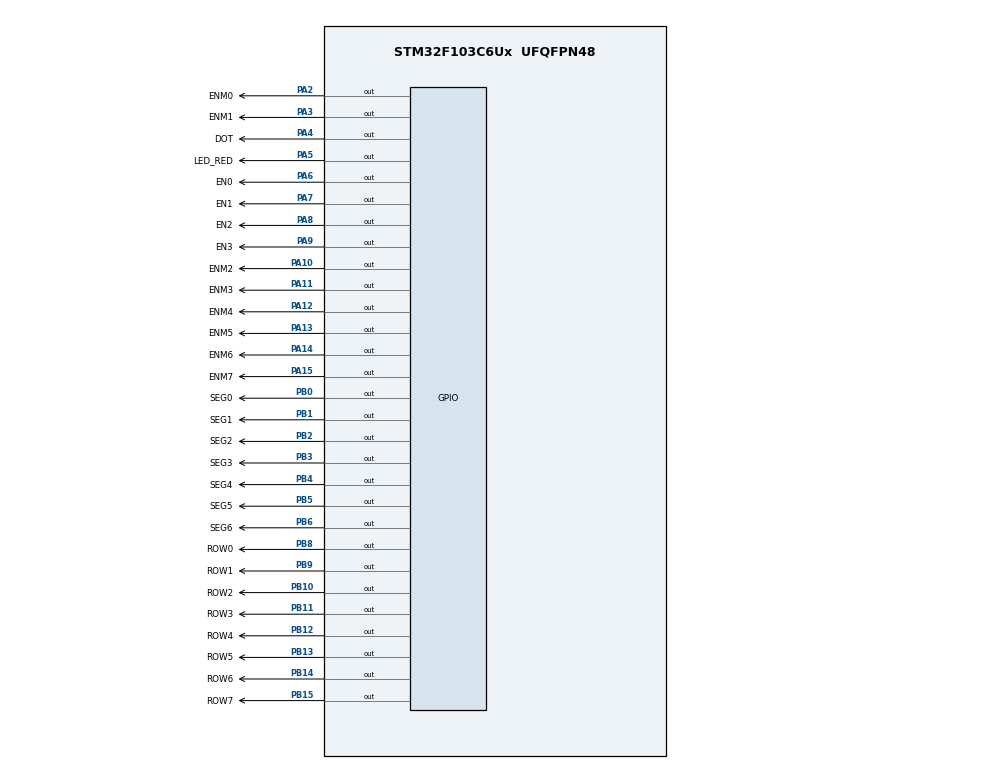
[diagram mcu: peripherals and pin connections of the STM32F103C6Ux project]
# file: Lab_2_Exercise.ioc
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Mcu.Family=STM32F1
Mcu.Name=STM32F103C6Ux
Mcu.Package=UFQFPN48
NVIC.PriorityGroup=NVIC_PRIORITYGROUP_4
NVIC.TIM2_IRQn=true\:0\:0\:false\:false\:true\:true\:true\:true
PA10.GPIO_Label=ENM2
PA10.Signal=GPIO_Output
PA11.GPIO_Label=ENM3
PA11.Signal=GPIO_Output
PA12.GPIO_Label=ENM4
PA12.Signal=GPIO_Output
PA13.GPIO_Label=ENM5
PA13.Signal=GPIO_Output
PA14.GPIO_Label=ENM6
PA14.Signal=GPIO_Output
PA15.GPIO_Label=ENM7
PA15.Signal=GPIO_Output
PA2.GPIO_Label=ENM0
PA2.Signal=GPIO_Output
PA3.GPIO_Label=ENM1
PA3.Signal=GPIO_Output
PA4.GPIO_Label=DOT
PA4.PinState=GPIO_PIN_SET
PA4.Signal=GPIO_Output
PA5.GPIO_Label=LED_RED
PA5.PinState=GPIO_PIN_RESET
PA5.Signal=GPIO_Output
PA6.GPIO_Label=EN0
PA6.PinState=GPIO_PIN_SET
PA6.Signal=GPIO_Output
PA7.GPIO_Label=EN1
PA7.PinState=GPIO_PIN_SET
PA7.Signal=GPIO_Output
PA8.GPIO_Label=EN2
PA8.PinState=GPIO_PIN_SET
PA8.Signal=GPIO_Output
PA9.GPIO_Label=EN3
PA9.PinState=GPIO_PIN_SET
PA9.Signal=GPIO_Output
PB0.GPIO_Label=SEG0
PB0.Signal=GPIO_Output
PB1.GPIO_Label=SEG1
PB1.Signal=GPIO_Output
PB10.GPIO_Label=ROW2
PB10.Signal=GPIO_Output
PB11.GPIO_Label=ROW3
PB11.Signal=GPIO_Output
PB12.GPIO_Label=ROW4
PB12.Signal=GPIO_Output
PB13.GPIO_Label=ROW5
PB13.Signal=GPIO_Output
PB14.GPIO_Label=ROW6
PB14.Signal=GPIO_Output
PB15.GPIO_Label=ROW7
PB15.Signal=GPIO_Output
PB2.GPIO_Label=SEG2
PB2.Signal=GPIO_Output
PB3.GPIO_Label=SEG3
PB3.Signal=GPIO_Output
PB4.GPIO_Label=SEG4
PB4.Signal=GPIO_Output
PB5.GPIO_Label=SEG5
PB5.Signal=GPIO_Output
PB6.GPIO_Label=SEG6
PB6.Signal=GPIO_Output
PB8.GPIO_Label=ROW0
PB8.Signal=GPIO_Output
PB9.GPIO_Label=ROW1
PB9.Signal=GPIO_Output
ProjectManager.HeapSize=0x200
ProjectManager.StackSize=0x400
ProjectManager.TargetToolchain=STM32CubeIDE
RCC.APB1Freq_Value=8000000
RCC.APB2Freq_Value=8000000
TIM2.Period=9
TIM2.Prescaler=7999
VP_SYS_VS_ND.Mode=No_Debug
VP_TIM2_VS_ClockSourceINT.Mode=Internal
board=custom

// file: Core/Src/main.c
/* USER CODE BEGIN Header */
/**
  ******************************************************************************
  * @file           : main.c
  * @brief          : Main program body
  ******************************************************************************
  * @attention
  *
  * Copyright (c) 2025 STMicroelectronics.
  * All rights reserved.
  *
  * This software is licensed under terms that can be found in the LICENSE file
  * in the root directory of this software component.
  * If no LICENSE file comes with this software, it is provided AS-IS.
  *
  ******************************************************************************
  */
/* USER CODE END Header */
#include "main.h"

TIM_HandleTypeDef htim2;

void SystemClock_Config(void);
static void MX_GPIO_Init(void);
static void MX_TIM2_Init(void);

/* USER CODE BEGIN 0 */
const uint8_t digit_patterns[10] = {
    0x3F, // 0: a,b,c,d,e,f
    0x06, // 1: b,c
    0x5B, // 2: a,b,g,e,d
    0x4F, // 3: a,b,g,c,d
    0x66, // 4: f,g,b,c
    0x6D, // 5: a,f,g,c,d
    0x7D, // 6: a,f,g,e,d,c
    0x07, // 7: a,b,c
    0x7F, // 8: all segments
    0x6F  // 9: a,b,c,d,f,g
};

void display7SEG(int num) {
    if (num < 0 || num > 9) return;

    uint8_t pattern = digit_patterns[num];
    HAL_GPIO_WritePin(SEG0_GPIO_Port, SEG0_Pin, (pattern & 0x01) ? GPIO_PIN_RESET : GPIO_PIN_SET);
    HAL_GPIO_WritePin(SEG1_GPIO_Port, SEG1_Pin, (pattern & 0x02) ? GPIO_PIN_RESET : GPIO_PIN_SET);
    HAL_GPIO_WritePin(SEG2_GPIO_Port, SEG2_Pin, (pattern & 0x04) ? GPIO_PIN_RESET : GPIO_PIN_SET);
    HAL_GPIO_WritePin(SEG3_GPIO_Port, SEG3_Pin, (pattern & 0x08) ? GPIO_PIN_RESET : GPIO_PIN_SET);
    HAL_GPIO_WritePin(SEG4_GPIO_Port, SEG4_Pin, (pattern & 0x10) ? GPIO_PIN_RESET : GPIO_PIN_SET);
    HAL_GPIO_WritePin(SEG5_GPIO_Port, SEG5_Pin, (pattern & 0x20) ? GPIO_PIN_RESET : GPIO_PIN_SET);
    HAL_GPIO_WritePin(SEG6_GPIO_Port, SEG6_Pin, (pattern & 0x40) ? GPIO_PIN_RESET : GPIO_PIN_SET);
}
/* USER CODE END 0 */

int main(void)
{

  /* MCU Configuration--------------------------------------------------------*/

  /* Reset of all peripherals, Initializes the Flash interface and the Systick. */
  HAL_Init();

  /* Configure the system clock */
  SystemClock_Config();

  /* Initialize all configured peripherals */
  MX_GPIO_Init();
  MX_TIM2_Init();
  /* USER CODE BEGIN 2 */
  HAL_TIM_Base_Start_IT(&htim2);
  /* USER CODE END 2 */

  /* Infinite loop */
  while (1)
  {

  }
}

void SystemClock_Config(void)
{
  RCC_OscInitTypeDef RCC_OscInitStruct = {0};
  RCC_ClkInitTypeDef RCC_ClkInitStruct = {0};

  /** Initializes the RCC Oscillators according to the specified parameters
  * in the RCC_OscInitTypeDef structure.
  */
  RCC_OscInitStruct.OscillatorType = RCC_OSCILLATORTYPE_HSI;
  RCC_OscInitStruct.HSIState = RCC_HSI_ON;
  RCC_OscInitStruct.HSICalibrationValue = RCC_HSICALIBRATION_DEFAULT;
  RCC_OscInitStruct.PLL.PLLState = RCC_PLL_NONE;
  if (HAL_RCC_OscConfig(&RCC_OscInitStruct) != HAL_OK)
  {
    Error_Handler();
  }

  /** Initializes the CPU, AHB and APB buses clocks
  */
  RCC_ClkInitStruct.ClockType = RCC_CLOCKTYPE_HCLK|RCC_CLOCKTYPE_SYSCLK
                              |RCC_CLOCKTYPE_PCLK1|RCC_CLOCKTYPE_PCLK2;
  RCC_ClkInitStruct.SYSCLKSource = RCC_SYSCLKSOURCE_HSI;
  RCC_ClkInitStruct.AHBCLKDivider = RCC_SYSCLK_DIV1;
  RCC_ClkInitStruct.APB1CLKDivider = RCC_HCLK_DIV1;
  RCC_ClkInitStruct.APB2CLKDivider = RCC_HCLK_DIV1;

  if (HAL_RCC_ClockConfig(&RCC_ClkInitStruct, FLASH_LATENCY_0) != HAL_OK)
  {
    Error_Handler();
  }
}

static void MX_TIM2_Init(void)
{

  TIM_ClockConfigTypeDef sClockSourceConfig = {0};
  TIM_MasterConfigTypeDef sMasterConfig = {0};

  htim2.Instance = TIM2;
  htim2.Init.Prescaler = 7999;
  htim2.Init.CounterMode = TIM_COUNTERMODE_UP;
  htim2.Init.Period = 9;
  htim2.Init.ClockDivision = TIM_CLOCKDIVISION_DIV1;
  htim2.Init.AutoReloadPreload = TIM_AUTORELOAD_PRELOAD_DISABLE;
  if (HAL_TIM_Base_Init(&htim2) != HAL_OK)
  {
    Error_Handler();
  }
  sClockSourceConfig.ClockSource = TIM_CLOCKSOURCE_INTERNAL;
  if (HAL_TIM_ConfigClockSource(&htim2, &sClockSourceConfig) != HAL_OK)
  {
    Error_Handler();
  }
  sMasterConfig.MasterOutputTrigger = TIM_TRGO_RESET;
  sMasterConfig.MasterSlaveMode = TIM_MASTERSLAVEMODE_DISABLE;
  if (HAL_TIMEx_MasterConfigSynchronization(&htim2, &sMasterConfig) != HAL_OK)
  {
    Error_Handler();
  }

}

static void MX_GPIO_Init(void)
{
  GPIO_InitTypeDef GPIO_InitStruct = {0};

  /* GPIO Ports Clock Enable */
  __HAL_RCC_GPIOA_CLK_ENABLE();
  __HAL_RCC_GPIOB_CLK_ENABLE();

  /*Configure GPIO pin Output Level */
  HAL_GPIO_WritePin(GPIOA, DOT_Pin|EN0_Pin|EN1_Pin|EN2_Pin
                          |EN3_Pin, GPIO_PIN_SET);

  /*Configure GPIO pin Output Level */
  HAL_GPIO_WritePin(GPIOA, LED_RED_Pin|GPIO_PIN_11, GPIO_PIN_RESET);

  /*Configure GPIO pin Output Level */
  HAL_GPIO_WritePin(GPIOB, SEG0_Pin|SEG1_Pin|SEG2_Pin|SEG3_Pin
                          |SEG4_Pin|SEG5_Pin|SEG6_Pin, GPIO_PIN_RESET);

  /*Configure GPIO pins : DOT_Pin LED_RED_Pin EN0_Pin EN1_Pin
                           EN2_Pin EN3_Pin PA11 */
  GPIO_InitStruct.Pin = DOT_Pin|LED_RED_Pin|EN0_Pin|EN1_Pin
                          |EN2_Pin|EN3_Pin|GPIO_PIN_11;
  GPIO_InitStruct.Mode = GPIO_MODE_OUTPUT_PP;
  GPIO_InitStruct.Pull = GPIO_NOPULL;
  GPIO_InitStruct.Speed = GPIO_SPEED_FREQ_LOW;
  HAL_GPIO_Init(GPIOA, &GPIO_InitStruct);

  /*Configure GPIO pins : SEG0_Pin SEG1_Pin SEG2_Pin SEG3_Pin
                           SEG4_Pin SEG5_Pin SEG6_Pin */
  GPIO_InitStruct.Pin = SEG0_Pin|SEG1_Pin|SEG2_Pin|SEG3_Pin
                          |SEG4_Pin|SEG5_Pin|SEG6_Pin;
  GPIO_InitStruct.Mode = GPIO_MODE_OUTPUT_PP;
  GPIO_InitStruct.Pull = GPIO_NOPULL;
  GPIO_InitStruct.Speed = GPIO_SPEED_FREQ_LOW;
  HAL_GPIO_Init(GPIOB, &GPIO_InitStruct);

}

/* USER CODE BEGIN 4 */
int counter = 100;
int counter1 = 50;
int state = 0;
void HAL_TIM_PeriodElapsedCallback(TIM_HandleTypeDef *htim){
	counter--;
	counter1--;
	 if(counter <= 0){
	 counter = 100;
	 HAL_GPIO_TogglePin(LED_RED_GPIO_Port, LED_RED_Pin);
     HAL_GPIO_TogglePin(DOT_GPIO_Port, DOT_Pin);
	 }
	 if(counter1 <= 0){
	 counter1 = 50;
     switch (state) {
       case 0:
         display7SEG(1);
         HAL_GPIO_WritePin(EN0_GPIO_Port, EN0_Pin, GPIO_PIN_RESET);
         HAL_GPIO_WritePin(EN1_GPIO_Port, EN1_Pin, GPIO_PIN_SET);
         HAL_GPIO_WritePin(EN2_GPIO_Port, EN2_Pin, GPIO_PIN_SET);
         HAL_GPIO_WritePin(EN3_GPIO_Port, EN3_Pin, GPIO_PIN_SET);
         break;
       case 1:
         display7SEG(2);
         HAL_GPIO_WritePin(EN0_GPIO_Port, EN0_Pin, GPIO_PIN_SET);
         HAL_GPIO_WritePin(EN1_GPIO_Port, EN1_Pin, GPIO_PIN_RESET);
         HAL_GPIO_WritePin(EN2_GPIO_Port, EN2_Pin, GPIO_PIN_SET);
         HAL_GPIO_WritePin(EN3_GPIO_Port, EN3_Pin, GPIO_PIN_SET);
         break;
       case 2:
         display7SEG(3);
         HAL_GPIO_WritePin(EN0_GPIO_Port, EN0_Pin, GPIO_PIN_SET);
         HAL_GPIO_WritePin(EN1_GPIO_Port, EN1_Pin, GPIO_PIN_SET);
         HAL_GPIO_WritePin(EN2_GPIO_Port, EN2_Pin, GPIO_PIN_RESET);
         HAL_GPIO_WritePin(EN3_GPIO_Port, EN3_Pin, GPIO_PIN_SET);
         break;
       case 3:
         display7SEG(0);
         HAL_GPIO_WritePin(EN0_GPIO_Port, EN0_Pin, GPIO_PIN_SET);
         HAL_GPIO_WritePin(EN1_GPIO_Port, EN1_Pin, GPIO_PIN_SET);
         HAL_GPIO_WritePin(EN2_GPIO_Port, EN2_Pin, GPIO_PIN_SET);
         HAL_GPIO_WritePin(EN3_GPIO_Port, EN3_Pin, GPIO_PIN_RESET);
         break;
     }
         state++;
         if(state >= 4 ) state = 0;
   }
}

/* USER CODE END 4 */

void Error_Handler(void)
{
  __disable_irq();
  while (1)
  {
  }
}
